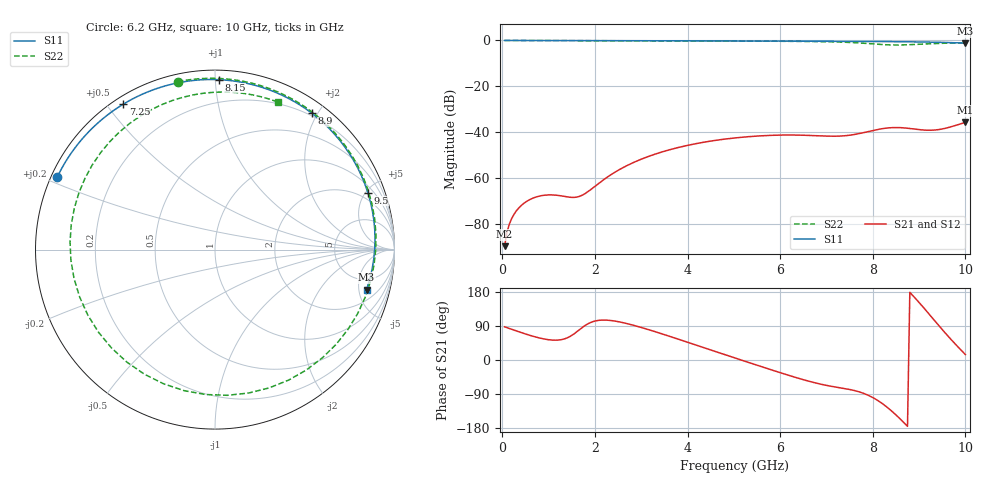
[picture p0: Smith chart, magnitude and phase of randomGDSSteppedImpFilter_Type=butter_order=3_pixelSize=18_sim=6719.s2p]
! freq	dB(S11)	phase(S11)	dB(S12)	phase(S12)
!  dB(S21)	phase(S21)	dB(S22)	phase(S22)
!S-par simulation data
#  GHz  S  DB  R 50
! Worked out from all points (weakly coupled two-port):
!   200 points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, 50 MHz to 10 GHz, reference 50 ohm
!   highest |S21| = -35.65 dB at 10 GHz (marker M1); lowest = -89.5 dB at 50 MHz (marker M2)
!   lowest |S11| = -1.2 dB at 10 GHz (marker M3), VSWR 14.78, Z = 161 - j302 ohm
!   |S11| at or under -10 dB: nowhere
!   |S22| runs from -2.0 to 0.0 dB; largest |S21 - S12| = 0
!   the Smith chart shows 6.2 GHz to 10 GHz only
!   S11 on the Smith chart (normalised r, x): 6.2 GHz: 0.02, +0.22; 7.25 GHz: 0.03, +0.55; 8.15 GHz: 0.06, +1.02; 8.9 GHz: 0.17, +1.93; 9.5 GHz: 1.42, +5.17; 10 GHz: 3.23, -6.04
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0.05  -0.00 -2.1  -89.52 87.5  -89.52 87.5  -0.00 -2.4
0.15  -0.01 -6.3  -80.05 83.3  -80.05 83.3  -0.01 -7.2
0.35  -0.02 -14.6  -73.04 74.8  -73.04 74.8  -0.02 -16.8
0.7  -0.04 -28.9  -68.33 61.3  -68.33 61.3  -0.04 -33.3
1.75  -0.08 -69.6  -67.08 87.8  -67.08 87.8  -0.10 -80.2
2.5  -0.11 -95.9  -56.53 101.3  -56.53 101.3  -0.13 -110.8
3.4  -0.14 -124.5  -48.81 70.9  -48.81 70.9  -0.17 -145.0
4.25  -0.18 -149.4  -44.65 36.7  -44.65 36.7  -0.21 -176.4
5.05  -0.22 -171.9  -42.36 4.2  -42.36 4.2  -0.26 153.2
6.2  -0.29 155.2  -41.14 -41.1  -41.14 -41.1  -0.37 102.5
6.7  -0.33 140.1  -41.38 -58.6  -41.38 -58.6  -0.46 74.6
7.25  -0.37 122.2  -41.64 -72.5  -41.64 -72.5  -0.67 34.7
7.5  -0.40 113.6  -41.24 -77.8  -41.24 -77.8  -0.86 11.1
7.75  -0.42 104.5  -40.34 -85.8  -40.34 -85.8  -1.13 -17.7
7.95  -0.45 96.8  -39.42 -95.9  -39.42 -95.9  -1.42 -45.3
8.15  -0.47 88.8  -38.58 -110.2  -38.58 -110.2  -1.71 -76.8
8.35  -0.50 80.4  -38.02 -128.7  -38.02 -128.7  -1.93 -110.9
8.6  -0.55 69.2  -37.95 -156.5  -37.95 -156.5  -1.97 -152.8
8.9  -0.61 54.6  -38.56 165.4  -38.56 165.4  -1.75 163.6
9.2  -0.70 38.4  -39.07 123.5  -39.07 123.5  -1.47 129.2
9.5  -0.83 20.5  -38.52 80.3  -38.52 80.3  -1.24 102.0
10  -1.18 -14.7  -35.65 14.4  -35.65 14.4  -0.98 66.9
